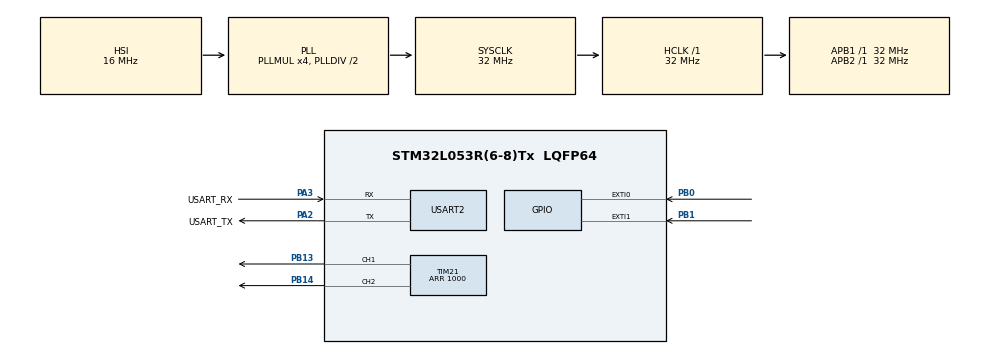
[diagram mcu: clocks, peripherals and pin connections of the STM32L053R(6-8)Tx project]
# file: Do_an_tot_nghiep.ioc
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Mcu.Family=STM32L0
Mcu.Name=STM32L053R(6-8)Tx
Mcu.Package=LQFP64
NVIC.EXTI0_1_IRQn=true\:0\:0\:false\:true\:true\:2
NVIC.TIM2_IRQn=true\:0\:0\:false\:true\:true\:1
NVIC.USART2_IRQn=true\:0\:0\:false\:true\:true\:3
PA2.GPIO_Label=USART_TX
PA2.Mode=Asynchronous
PA2.Signal=USART2_TX
PA3.GPIO_Label=USART_RX
PA3.Mode=Asynchronous
PA3.Signal=USART2_RX
PB0.Signal=GPXTI0
PB1.Signal=GPXTI1
PB13.Signal=S_TIM21_CH1
PB14.Signal=S_TIM21_CH2
ProjectManager.HeapSize=0x200
ProjectManager.StackSize=0x400
ProjectManager.TargetToolchain=MDK-ARM V5
RCC.ADCFreq_Value=16000000
RCC.AHBFreq_Value=32000000
RCC.APB1Freq_Value=32000000
RCC.APB1TimFreq_Value=32000000
RCC.APB2Freq_Value=32000000
RCC.APB2TimFreq_Value=32000000
RCC.HCLKFreq_Value=32000000
RCC.HSE_VALUE=8000000
RCC.HSI16_VALUE=16000000
RCC.HSI48_VALUE=48000000
RCC.HSI_VALUE=16000000
RCC.LSEState=RCC_LSE_ON
RCC.LSE_VALUE=32768
RCC.MSI_VALUE=2097000
RCC.PLLMUL=RCC_PLLMUL_4
RCC.SYSCLKFreq_VALUE=32000000
RCC.SYSCLKSource=RCC_SYSCLKSOURCE_PLLCLK
RCC.VCOOutputFreq_Value=64000000
SH.S_TIM21_CH1.0=TIM21_CH1,PWM Generation1 CH1
SH.S_TIM21_CH2.0=TIM21_CH2,PWM Generation2 CH2
TIM2.Prescaler=32000
TIM21.Channel-PWM\ Generation2\ CH2=TIM_CHANNEL_2
TIM21.Period=1000
TIM21.Pulse-PWM\ Generation2\ CH2=500
USART2.WordLength=UART_WORDLENGTH_8B
VP_TIM2_VS_ClockSourceINT.Mode=Internal
board=NUCLEO-L053R8

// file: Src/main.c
/**
  ******************************************************************************
  * File Name          : main.c
  * Description        : Main program body
  ******************************************************************************
  *
  * COPYRIGHT(c) 2017 STMicroelectronics
  *
  * Redistribution and use in source and binary forms, with or without modification,
  * are permitted provided that the following conditions are met:
  *   1. Redistributions of source code must retain the above copyright notice,
  *      this list of conditions and the following disclaimer.
  *   2. Redistributions in binary form must reproduce the above copyright notice,
  *      this list of conditions and the following disclaimer in the documentation
  *      and/or other materials provided with the distribution.
  *   3. Neither the name of STMicroelectronics nor the names of its contributors
  *      may be used to endorse or promote products derived from this software
  *      without specific prior written permission.
  *
  * THIS SOFTWARE IS PROVIDED BY THE COPYRIGHT HOLDERS AND CONTRIBUTORS "AS IS"
  * AND ANY EXPRESS OR IMPLIED WARRANTIES, INCLUDING, BUT NOT LIMITED TO, THE
  * IMPLIED WARRANTIES OF MERCHANTABILITY AND FITNESS FOR A PARTICULAR PURPOSE ARE
  * DISCLAIMED. IN NO EVENT SHALL THE COPYRIGHT HOLDER OR CONTRIBUTORS BE LIABLE
  * FOR ANY DIRECT, INDIRECT, INCIDENTAL, SPECIAL, EXEMPLARY, OR CONSEQUENTIAL
  * DAMAGES (INCLUDING, BUT NOT LIMITED TO, PROCUREMENT OF SUBSTITUTE GOODS OR
  * SERVICES; LOSS OF USE, DATA, OR PROFITS; OR BUSINESS INTERRUPTION) HOWEVER
  * CAUSED AND ON ANY THEORY OF LIABILITY, WHETHER IN CONTRACT, STRICT LIABILITY,
  * OR TORT (INCLUDING NEGLIGENCE OR OTHERWISE) ARISING IN ANY WAY OUT OF THE USE
  * OF THIS SOFTWARE, EVEN IF ADVISED OF THE POSSIBILITY OF SUCH DAMAGE.
  *
  ******************************************************************************
  */
#include "main.h"
#include "stm32l0xx_hal.h"

/* USER CODE BEGIN Includes */
#include <stdio.h>
double tocdo_trai,tocdo_phai;
int counter_trai,counter_phai;
int tocdo_dat_trai, tocdo_dat_phai;
int error_sum_trai=0,error_sum_phai=0;
/* USER CODE END Includes */

TIM_HandleTypeDef htim2;
TIM_HandleTypeDef htim21;

UART_HandleTypeDef huart2;

/* USER CODE BEGIN PV */
/* Private variables ---------------------------------------------------------*/
float error_trai, old_error_trai, Kp_trai, Kd_trai,  Ki_trai;
float error_phai, old_error_phai,Kp_phai, Kd_phai,  Ki_phai;
uint8_t Rx_Buffer[64];
/* USER CODE END PV */

void SystemClock_Config(void);
void Error_Handler(void);
static void MX_GPIO_Init(void);
static void MX_TIM2_Init(void);
static void MX_TIM21_Init(void);
static void MX_USART2_UART_Init(void);
static void MX_NVIC_Init(void);

void HAL_TIM_MspPostInit(TIM_HandleTypeDef *htim);

/* USER CODE BEGIN PFP */
/* Private function prototypes -----------------------------------------------*/

/* USER CODE END PFP */

/* USER CODE BEGIN 0 */
int PID_Controler_left()
	{
		{
    float delta, Udk_trai;
    //int error_sum;
    int max_e=300;
    error_trai =tocdo_dat_trai-tocdo_trai;            // Sai so dieu khien

    if ((error_trai<-350) && (old_error_trai>=0)) {error_trai=-error_trai;}

    delta = (error_trai - old_error_trai);
    old_error_trai = error_trai;                  //Luu gia tri sai so
    error_sum_trai = error_sum_trai+error_trai; // Thanh phan tich phan

    // Khong cho thanh phan tich phan vuot qua gia tri max
    if (error_sum_trai <-max_e) error_sum_trai = -max_e;
    if (error_sum_trai > max_e) error_sum_trai = max_e;

    Udk_trai = Kp_trai*error_trai + Ki_trai*error_sum_trai + Kd_trai*delta;  //Tin hieu dieu khien

    // Giam sat gia tri dieu khien ko duoc vuot qua nguong
    if (Udk_trai <0) Udk_trai = -Udk_trai;
    if (Udk_trai > 1000) Udk_trai = 1000;

    return (int)Udk_trai;
		}
	}
	int PID_Controler_right()
	{
		{
    float delta, Udk_phai;
    //int error_sum;
    int max_e=300;
    error_phai =tocdo_dat_phai-tocdo_phai;            // Sai so dieu khien

    if ((error_phai<-350) && (old_error_phai>=0)) {error_phai=-error_phai;}

    delta = (error_phai - old_error_phai);
    old_error_phai = error_phai;                  //Luu gia tri sai so
    error_sum_phai = error_sum_phai+error_phai; // Thanh phan tich phan

    // Khong cho thanh phan tich phan vuot qua gia tri max
    if (error_sum_phai <-max_e) error_sum_phai = -max_e;
    if (error_sum_phai > max_e) error_sum_phai = max_e;

    Udk_phai = Kp_phai*error_phai + Ki_phai*error_sum_phai + Kd_phai*delta;  //Tin hieu dieu khien

    // Giam sat gia tri dieu khien ko duoc vuot qua nguong
    if (Udk_phai <0) Udk_phai = -Udk_phai;
    if (Udk_phai > 1000) Udk_phai = 1000;

    return (int)Udk_phai;
		}
	}
/* USER CODE END 0 */

int main(void)
{

  /* USER CODE BEGIN 1 */
	int Udk_trai;
	int Udk_phai;
  /* USER CODE END 1 */

  /* MCU Configuration----------------------------------------------------------*/

  /* Reset of all peripherals, Initializes the Flash interface and the Systick. */
  HAL_Init();

  /* Configure the system clock */
  SystemClock_Config();

  /* Initialize all configured peripherals */
  MX_GPIO_Init();
  MX_TIM2_Init();
  MX_TIM21_Init();
  MX_USART2_UART_Init();

  /* Initialize interrupts */
  MX_NVIC_Init();

  /* USER CODE BEGIN 2 */
	HAL_TIM_Base_Start_IT(&htim2);
	__HAL_UART_ENABLE_IT(&huart2,UART_IT_RXNE);
  /* USER CODE END 2 */

  /* Infinite loop */
  /* USER CODE BEGIN WHILE */
	HAL_TIM_PWM_Start(&htim21, TIM_CHANNEL_1 );
	HAL_TIM_PWM_Start(&htim21, TIM_CHANNEL_2 );
	Rx_Buffer[0]='0';
	Rx_Buffer[1]='0';
	Rx_Buffer[2]='0';
	Rx_Buffer[3]='0';
  while (1)
  {
  /* USER CODE END WHILE */

  /* USER CODE BEGIN 3 */
		//time2=HAL_GetTick();

		HAL_UART_Receive_IT(&huart2,Rx_Buffer , 4);
	//	printf("xinchao");
	//	HAL_Delay(10);
		if(Rx_Buffer[0]=='s')
			{while(1)
				{
		HAL_UART_Receive_IT(&huart2,Rx_Buffer , 4);
		tocdo_dat_trai=(Rx_Buffer[0]-0x30)*10+(Rx_Buffer[1]-0x30);
		tocdo_dat_phai=(Rx_Buffer[2]-0x30)*10+(Rx_Buffer[3]-0x30);
		if(Rx_Buffer[0]=='f')
			{
				TIM21->CCR1=0;
				TIM21->CCR2=0;
				break;
				}
		Udk_trai=PID_Controler_left();
		Udk_phai=PID_Controler_right();
	  //printf("trai: %f \r\n",tocdo_trai);
		//printf("phai: %f \r\n",tocdo_phai);
		HAL_Delay(100);
		if(tocdo_dat_trai<30)
			{
				TIM21->CCR1=Udk_trai;
				Kp_trai=2; Kd_trai=1;  Ki_trai=2;
			}
		if(tocdo_dat_trai<100&&tocdo_dat_trai>=30)
			{
				TIM21->CCR1=Udk_trai;
				Kp_trai=3; Kd_trai=2.5;  Ki_trai=3;
			}
			if(tocdo_dat_phai<30)
			{
				TIM21->CCR2=Udk_phai;
				Kp_phai=2; Kd_phai=1;  Ki_phai=2;
			}
		if(tocdo_dat_phai<100&&tocdo_dat_phai>=30)
			{
				TIM21->CCR2=Udk_phai;
				Kp_phai=3; Kd_phai=2.5;  Ki_phai=3;
			}
			}
			}
  }
  /* USER CODE END 3 */

}

/** System Clock Configuration
*/
void SystemClock_Config(void)
{

  RCC_OscInitTypeDef RCC_OscInitStruct;
  RCC_ClkInitTypeDef RCC_ClkInitStruct;
  RCC_PeriphCLKInitTypeDef PeriphClkInit;

    /**Configure the main internal regulator output voltage
    */
  __HAL_PWR_VOLTAGESCALING_CONFIG(PWR_REGULATOR_VOLTAGE_SCALE1);

    /**Initializes the CPU, AHB and APB busses clocks
    */
  RCC_OscInitStruct.OscillatorType = RCC_OSCILLATORTYPE_HSI;
  RCC_OscInitStruct.HSIState = RCC_HSI_ON;
  RCC_OscInitStruct.HSICalibrationValue = 16;
  RCC_OscInitStruct.PLL.PLLState = RCC_PLL_ON;
  RCC_OscInitStruct.PLL.PLLSource = RCC_PLLSOURCE_HSI;
  RCC_OscInitStruct.PLL.PLLMUL = RCC_PLLMUL_4;
  RCC_OscInitStruct.PLL.PLLDIV = RCC_PLLDIV_2;
  if (HAL_RCC_OscConfig(&RCC_OscInitStruct) != HAL_OK)
  {
    Error_Handler();
  }

    /**Initializes the CPU, AHB and APB busses clocks
    */
  RCC_ClkInitStruct.ClockType = RCC_CLOCKTYPE_HCLK|RCC_CLOCKTYPE_SYSCLK
                              |RCC_CLOCKTYPE_PCLK1|RCC_CLOCKTYPE_PCLK2;
  RCC_ClkInitStruct.SYSCLKSource = RCC_SYSCLKSOURCE_PLLCLK;
  RCC_ClkInitStruct.AHBCLKDivider = RCC_SYSCLK_DIV1;
  RCC_ClkInitStruct.APB1CLKDivider = RCC_HCLK_DIV1;
  RCC_ClkInitStruct.APB2CLKDivider = RCC_HCLK_DIV1;

  if (HAL_RCC_ClockConfig(&RCC_ClkInitStruct, FLASH_LATENCY_1) != HAL_OK)
  {
    Error_Handler();
  }

  PeriphClkInit.PeriphClockSelection = RCC_PERIPHCLK_USART2;
  PeriphClkInit.Usart2ClockSelection = RCC_USART2CLKSOURCE_PCLK1;
  if (HAL_RCCEx_PeriphCLKConfig(&PeriphClkInit) != HAL_OK)
  {
    Error_Handler();
  }

    /**Configure the Systick interrupt time
    */
  HAL_SYSTICK_Config(HAL_RCC_GetHCLKFreq()/1000);

    /**Configure the Systick
    */
  HAL_SYSTICK_CLKSourceConfig(SYSTICK_CLKSOURCE_HCLK);

  /* SysTick_IRQn interrupt configuration */
  HAL_NVIC_SetPriority(SysTick_IRQn, 0, 0);
}

/** NVIC Configuration
*/
static void MX_NVIC_Init(void)
{
  /* TIM2_IRQn interrupt configuration */
  HAL_NVIC_SetPriority(TIM2_IRQn, 0, 0);
  HAL_NVIC_EnableIRQ(TIM2_IRQn);
  /* EXTI0_1_IRQn interrupt configuration */
  HAL_NVIC_SetPriority(EXTI0_1_IRQn, 0, 0);
  HAL_NVIC_EnableIRQ(EXTI0_1_IRQn);
  /* USART2_IRQn interrupt configuration */
  HAL_NVIC_SetPriority(USART2_IRQn, 0, 0);
  HAL_NVIC_EnableIRQ(USART2_IRQn);
}

/* TIM2 init function */
static void MX_TIM2_Init(void)
{

  TIM_ClockConfigTypeDef sClockSourceConfig;
  TIM_MasterConfigTypeDef sMasterConfig;

  htim2.Instance = TIM2;
  htim2.Init.Prescaler = 32000;
  htim2.Init.CounterMode = TIM_COUNTERMODE_UP;
  htim2.Init.Period = 100;
  htim2.Init.ClockDivision = TIM_CLOCKDIVISION_DIV1;
  if (HAL_TIM_Base_Init(&htim2) != HAL_OK)
  {
    Error_Handler();
  }

  sClockSourceConfig.ClockSource = TIM_CLOCKSOURCE_INTERNAL;
  if (HAL_TIM_ConfigClockSource(&htim2, &sClockSourceConfig) != HAL_OK)
  {
    Error_Handler();
  }

  sMasterConfig.MasterOutputTrigger = TIM_TRGO_RESET;
  sMasterConfig.MasterSlaveMode = TIM_MASTERSLAVEMODE_DISABLE;
  if (HAL_TIMEx_MasterConfigSynchronization(&htim2, &sMasterConfig) != HAL_OK)
  {
    Error_Handler();
  }

}

/* TIM21 init function */
static void MX_TIM21_Init(void)
{

  TIM_MasterConfigTypeDef sMasterConfig;
  TIM_OC_InitTypeDef sConfigOC;

  htim21.Instance = TIM21;
  htim21.Init.Prescaler = 0;
  htim21.Init.CounterMode = TIM_COUNTERMODE_UP;
  htim21.Init.Period = 1000;
  htim21.Init.ClockDivision = TIM_CLOCKDIVISION_DIV1;
  if (HAL_TIM_PWM_Init(&htim21) != HAL_OK)
  {
    Error_Handler();
  }

  sMasterConfig.MasterOutputTrigger = TIM_TRGO_RESET;
  sMasterConfig.MasterSlaveMode = TIM_MASTERSLAVEMODE_DISABLE;
  if (HAL_TIMEx_MasterConfigSynchronization(&htim21, &sMasterConfig) != HAL_OK)
  {
    Error_Handler();
  }

  sConfigOC.OCMode = TIM_OCMODE_PWM1;
  sConfigOC.Pulse = 0;
  sConfigOC.OCPolarity = TIM_OCPOLARITY_HIGH;
  sConfigOC.OCFastMode = TIM_OCFAST_DISABLE;
  if (HAL_TIM_PWM_ConfigChannel(&htim21, &sConfigOC, TIM_CHANNEL_1) != HAL_OK)
  {
    Error_Handler();
  }

  sConfigOC.Pulse = 0;
  if (HAL_TIM_PWM_ConfigChannel(&htim21, &sConfigOC, TIM_CHANNEL_2) != HAL_OK)
  {
    Error_Handler();
  }

  HAL_TIM_MspPostInit(&htim21);

}

/* USART2 init function */
static void MX_USART2_UART_Init(void)
{

  huart2.Instance = USART2;
  huart2.Init.BaudRate = 115200;
  huart2.Init.WordLength = UART_WORDLENGTH_8B;
  huart2.Init.StopBits = UART_STOPBITS_1;
  huart2.Init.Parity = UART_PARITY_NONE;
  huart2.Init.Mode = UART_MODE_TX_RX;
  huart2.Init.HwFlowCtl = UART_HWCONTROL_NONE;
  huart2.Init.OverSampling = UART_OVERSAMPLING_16;
  huart2.Init.OneBitSampling = UART_ONE_BIT_SAMPLE_DISABLE;
  huart2.AdvancedInit.AdvFeatureInit = UART_ADVFEATURE_NO_INIT;
  if (HAL_UART_Init(&huart2) != HAL_OK)
  {
    Error_Handler();
  }

}

/** Configure pins as
        * Analog
        * Input
        * Output
        * EVENT_OUT
        * EXTI
*/
static void MX_GPIO_Init(void)
{

  GPIO_InitTypeDef GPIO_InitStruct;

  /* GPIO Ports Clock Enable */
  __HAL_RCC_GPIOA_CLK_ENABLE();
  __HAL_RCC_GPIOB_CLK_ENABLE();

  /*Configure GPIO pins : PB0 PB1 */
  GPIO_InitStruct.Pin = GPIO_PIN_0|GPIO_PIN_1;
  GPIO_InitStruct.Mode = GPIO_MODE_IT_RISING;
  GPIO_InitStruct.Pull = GPIO_NOPULL;
  HAL_GPIO_Init(GPIOB, &GPIO_InitStruct);

}

/* USER CODE BEGIN 4 */
#ifdef __GNUC__
  /* With GCC/RAISONANCE, small printf (option LD Linker->Libraries->Small printf
     set to 'Yes') calls __io_putchar() */
  #define PUTCHAR_PROTOTYPE int __io_putchar(int ch)
#else
  #define PUTCHAR_PROTOTYPE int fputc(int ch, FILE *f)
#endif /* __GNUC__ */
	PUTCHAR_PROTOTYPE
{
	/* Place your implementation of fputc here */
	/* e.g. write a character to the USART */
	HAL_UART_Transmit(&huart2, (uint8_t *)&ch, 1, 100);
	return ch;
}
/* USER CODE END 4 */

void Error_Handler(void)
{
  while(1)
  {
  }
}

/************************ (C) COPYRIGHT STMicroelectronics *****END OF FILE****/
